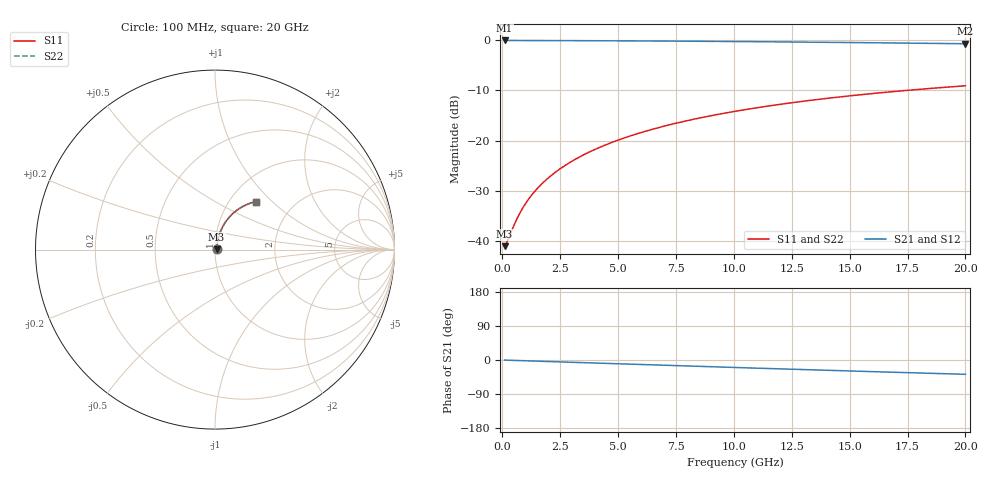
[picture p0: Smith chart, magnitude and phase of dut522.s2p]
! Touchstone file exported from HFSS 2026.1.0
!  File:  C:/ffzhzh/LocalFiles/Ansys_Project_Files/temp_train_BSMRDL_522_1783014607_53980.aedt
!  Generated:  01:51:26 AM Jul  3, 2026
!  Design:  BSMRDL
!  Project:  temp_train_BSMRDL_522_1783014607_53980
! Variables:
!  h_bsmrdl = 2.01um
!  h_ox = 20um
!  h_rdl = 5um
!  h_sub = 80um
!  h_tmrdl = 5um
!  h_tsv = 80um
!  h_via = 3um
!  l_bsmrdl = 563.45um
!  l_sub = 963.45um
!  l_tmrdl = 200um
!  m_sub = 200um
!  pitch = 25.65um
!  r_tsv = 6um
!  s_tmrdl = 10um
!  w_bsmrdl = 11.6um
!  w_sub = 500um
!  w_tmrdl = 12um
!  x_tsv_center1 = 206um
!  x_tsv_center2 = 781.05um
!  x_tsv_center3 = 993.05um
!  x_tsv_center4 = 1568.1um
!  x_tsv_center5 = 1780.1um
!  x_tsv_center6 = 2355.15um
# GHz S MA R 50.000000
! Terminal data exported
! Port[1] = BSM_RDL1_1_T1
! Port[2] = BSM_RDL1_1_T2
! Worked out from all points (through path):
!   200 points, 100 MHz to 20 GHz, reference 50 ohm
!   highest |S21| = -0.08 dB at 100 MHz (marker M1); lowest = -0.7 dB at 20 GHz (marker M2)
!   group delay of S21, straight-line fit = 5.25 ps
!   lowest |S11| = -41.0 dB at 100 MHz (marker M3), VSWR 1.02, Z = 50.9 + j0.226 ohm
!   |S11| at or under -10 dB: start of sweep to 17.49 GHz
!   |S22| runs from -41.0 to -9.1 dB; largest |S21 - S12| = 2.7e-15
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0.1  0.008911 14.4  0.9914 -0.2  0.9914 -0.2  0.008911 14.4
! Gamma 0 0 0 0
! Port Impedance 50 0 50 0
0.2  0.009771 26.9  0.9913 -0.4  0.9913 -0.4  0.009771 26.9
0.6  0.01607 54.0  0.9907 -1.3  0.9907 -1.3  0.01607 54.0
0.8  0.01979 59.8  0.9904 -1.7  0.9904 -1.7  0.01979 59.8
0.9  0.02168 61.8  0.9902 -1.9  0.9902 -1.9  0.02168 61.8
1.1  0.0255 65.0  0.9899 -2.3  0.9899 -2.3  0.0255 65.0
1.4  0.03124 68.1  0.9894 -2.9  0.9894 -2.9  0.03124 68.1
1.8  0.03892 70.7  0.9888 -3.7  0.9888 -3.7  0.03892 70.7
2.3  0.04859 72.5  0.9881 -4.7  0.9881 -4.7  0.04859 72.5
2.9  0.06026 73.6  0.9873 -5.8  0.9873 -5.8  0.06026 73.6
3.5  0.07196 74.0  0.9863 -7.0  0.9863 -7.0  0.07196 74.0
4.2  0.08561 73.9  0.985 -8.4  0.985 -8.4  0.0856 73.9
5  0.1011 73.4  0.9833 -10.0  0.9833 -10.0  0.1011 73.4
5.9  0.1185 72.5  0.9811 -11.8  0.9811 -11.8  0.1185 72.5
6.8  0.1357 71.4  0.9787 -13.5  0.9787 -13.5  0.1357 71.4
8.3  0.1638 69.2  0.9739 -16.4  0.9739 -16.4  0.1638 69.2
10.1  0.1965 66.3  0.9673 -19.9  0.9673 -19.9  0.1965 66.3
11.7  0.2245 63.6  0.9607 -22.9  0.9607 -22.9  0.2245 63.6
13.4  0.253 60.7  0.9531 -26.0  0.9531 -26.0  0.253 60.7
15  0.2787 58.0  0.9454 -28.9  0.9454 -28.9  0.2787 58.0
16.7  0.3046 55.1  0.9369 -32.0  0.9369 -32.0  0.3046 55.1
20  0.351 49.6  0.9198 -37.7  0.9198 -37.7  0.3509 49.6
